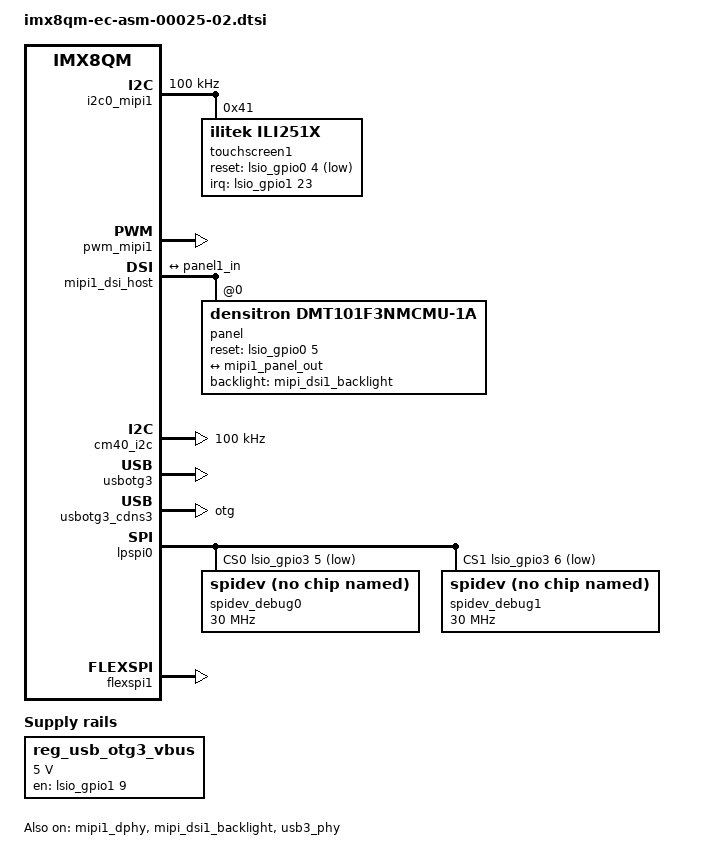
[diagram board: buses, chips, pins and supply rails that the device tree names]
// SPDX-License-Identifier: GPL-2.0+
/*
 * Copyright 2024 Refeyn
 *	Matthew Joyce <matthew.joyce@refeyn.com>
 */

/ {
	reg_usb_otg3_vbus: regulator-usbotg3-vbus {
		compatible = "regulator-fixed";
		regulator-name = "usb_otg3_vbus";
		regulator-min-microvolt = <5000000>;
		regulator-max-microvolt = <5000000>;
		gpio = <&lsio_gpio1 9 GPIO_ACTIVE_HIGH>;
		over-current-gpios = <&lsio_gpio1 10 GPIO_ACTIVE_HIGH>;
		enable-active-high;
		regulator-always-on;
	};
};

// Touchscreen connector

&i2c0_mipi1 {
	#address-cells = <1>;
	#size-cells = <0>;
	pinctrl-names = "default";
	pinctrl-0 = <&pinctrl_mipi1_lpi2c0>;
	clock-frequency = <100000>;
	status = "okay";

	touchscreen1: touchscreen@41 {
		#address-cells = <1>;
		#size-cells = <0>;
		compatible = "ilitek,ili251x";
		reg = <0x41>;

		pinctrl-names = "default";
		pinctrl-0 = <&pinctrl_mipi1_touchscreen>;

		interrupt-parent = <&lsio_gpio1>;
		interrupts = <23 IRQ_TYPE_LEVEL_LOW>;
		reset-gpios = <&lsio_gpio0 4 GPIO_ACTIVE_LOW>; // AUX_GPIO_4
		wakeup-source;
	};
};

&mipi1_dphy {
	status = "okay";
};

&mipi_dsi1_backlight {
	status = "okay";
};

&pwm_mipi1 {
    pinctrl-names = "default";
    pinctrl-0 = <&pinctrl_pwm_mipi_dsi1>;
	status = "okay";
};

&mipi1_dsi_host {
	status = "okay";
	fsl,clock-drop-level = <2>;

	panel@0 {
		#address-cells = <1>;
		#size-cells = <0>;
		compatible = "densitron,dmt101f3nmcmu-1a";
		reg = <0>;

		rotation = <90>;

		backlight = <&mipi_dsi1_backlight>;

		pinctrl-names = "default";
		pinctrl-0 = <&pinctrl_mipi1_panel>;
		reset-gpios = <&lsio_gpio0 5 GPIO_ACTIVE_HIGH>; // AUX_GPIO_5

		port@0 {
			reg = <0>;
			panel1_in: endpoint {
				remote-endpoint = <&mipi1_panel_out>;
			};
		};
	};

	ports {
		port@1 {
			reg = <1>;
			mipi1_panel_out: endpoint {
				remote-endpoint = <&panel1_in>;
			};
		};
	};
};

// I2C

&cm40_i2c { // Aux card I2C bus
	#address-cells = <1>;
	#size-cells = <0>;
	clock-frequency = <100000>;
	pinctrl-names = "default";
	pinctrl-0 = <&pinctrl_cm40_i2c>;
	status = "okay";

	// On EC-ASM-00025-01 SBC Test PCB this these pins can be used for SCFW UART
};

// USB OTG

&usb3_phy {
	status = "okay";
};

&usbotg3 {
	status = "okay";
};

&usbotg3_cdns3 {
	pinctrl-names = "default";
	pinctrl-0 = <&pinctrl_usbotg3>;
	dr_mode = "otg";
	status = "okay";
};

// SPI bus

&lpspi0 { // Debug SPI
	#address-cells = <1>;
	#size-cells = <0>;
	fsl,spi-num-chipselects = <2>;
	pinctrl-names = "default";
	pinctrl-0 = <&pinctrl_lpspi0>;
	cs-gpios = <&lsio_gpio3 5 GPIO_ACTIVE_LOW>,
		<&lsio_gpio3 6 GPIO_ACTIVE_LOW>;
	assigned-clock-rates = <60000000>;
	status = "okay";

	// Add spidev devices
	spidev_debug0: spi@0 {
		reg = <0>;
		compatible = "rohm,dh2228fv";
		spi-max-frequency = <30000000>;
	};

	spidev_debug1: spi@1 {
		reg = <1>;
		compatible = "rohm,dh2228fv";
		spi-max-frequency = <30000000>;
	};
};

// QSPI

&flexspi1 { // Aux board QSPI
	pinctrl-names = "default";
	pinctrl-0 = <&pinctrl_flexspi1>;
	nxp,fspi-dll-slvdly = <4>;
	status = "okay";

	// No device on EC-ASM-00025-01 SBC Test PCB
};

// Pin mux control

&iomuxc {
	pinctrl-names = "default";
	pinctrl-0 = <&pinctrl_hog>, <&pinctrl_hog_extra>;

	pinctrl_hog_extra: hogextragrp {
		fsl,pins = <
			// Debug GPIOs
			IMX8QM_M40_GPIO0_00_LSIO_GPIO0_IO08					0x06000021
			IMX8QM_M40_GPIO0_01_LSIO_GPIO0_IO09					0x06000021
			IMX8QM_M41_GPIO0_00_LSIO_GPIO0_IO12					0x06000021
			IMX8QM_M41_GPIO0_01_LSIO_GPIO0_IO13					0x06000021

			// GPIO for aux card
			// Last two are used for panel/touchscreen resets for EC-ASM-00025-01 SBC Test PCB
			IMX8QM_SIM0_CLK_LSIO_GPIO0_IO00						0x06000021
			IMX8QM_SIM0_RST_LSIO_GPIO0_IO01						0x06000021
			IMX8QM_SIM0_IO_LSIO_GPIO0_IO02						0x06000021
			IMX8QM_SIM0_PD_LSIO_GPIO0_IO03						0x06000021
		>;
	};

	pinctrl_pwm_mipi_dsi1: mipi1_pwmgrp {
		fsl,pins = <
			IMX8QM_MIPI_DSI1_GPIO0_00_MIPI_DSI1_PWM0_OUT		0x06000020
		>;
	};

	pinctrl_mipi1_lpi2c0: mipi1_lpi2c0grp {
		fsl,pins = <
			IMX8QM_MIPI_DSI1_I2C0_SCL_MIPI_DSI1_I2C0_SCL		0x04000020
			IMX8QM_MIPI_DSI1_I2C0_SDA_MIPI_DSI1_I2C0_SDA		0x04000020
		>;
	};

	pinctrl_mipi1_touchscreen: mipi1_touchscreengrp {
		fsl,pins = <
			IMX8QM_MIPI_DSI1_GPIO0_01_LSIO_GPIO1_IO23			0x06000020
			IMX8QM_SIM0_POWER_EN_LSIO_GPIO0_IO04				0x06000020 // AUX_GPIO_4
		>;
	};

	pinctrl_mipi1_panel: mipi1_panelgrp {
		fsl,pins = <
			IMX8QM_SIM0_GPIO0_00_LSIO_GPIO0_IO05				0x06000020 // AUX_GPIO_5
		>;
	};

	pinctrl_cm40_i2c: cm40i2cgrp {
		fsl,pins = <
			IMX8QM_M40_I2C0_SDA_M40_I2C0_SDA					0x04000020
			IMX8QM_M40_I2C0_SCL_M40_I2C0_SCL					0x04000020
		>;
	};

	pinctrl_usbotg3: usbotg3 {
		fsl,pins = <
			IMX8QM_LVDS0_I2C1_SDA_LSIO_GPIO1_IO09				0x06000021
			IMX8QM_LVDS1_GPIO00_LSIO_GPIO1_IO10					0x06000021
		>;
	};

	pinctrl_lpspi0: lpspi0grp {
		fsl,pins = <
			IMX8QM_SPI0_SCK_DMA_SPI0_SCK						0x06000040
			IMX8QM_SPI0_SDI_DMA_SPI0_SDI						0x06000040
			IMX8QM_SPI0_SDO_DMA_SPI0_SDO						0x06000040
			IMX8QM_SPI0_CS0_LSIO_GPIO3_IO05						0x06000040
			IMX8QM_SPI0_CS1_LSIO_GPIO3_IO06						0x06000040
		>;
	};

	pinctrl_flexspi1: flexspi1grp {
		fsl,pins = <
			IMX8QM_QSPI1A_DATA0_LSIO_QSPI1A_DATA0				0x06000021
			IMX8QM_QSPI1A_DATA1_LSIO_QSPI1A_DATA1				0x06000021
			IMX8QM_QSPI1A_DATA2_LSIO_QSPI1A_DATA2				0x06000021
			IMX8QM_QSPI1A_DATA3_LSIO_QSPI1A_DATA3				0x06000021
			IMX8QM_QSPI1A_SS0_B_LSIO_QSPI1A_SS0_B				0x06000021
			IMX8QM_QSPI1A_SCLK_LSIO_QSPI1A_SCLK					0x06000021
		>;
	};
};
